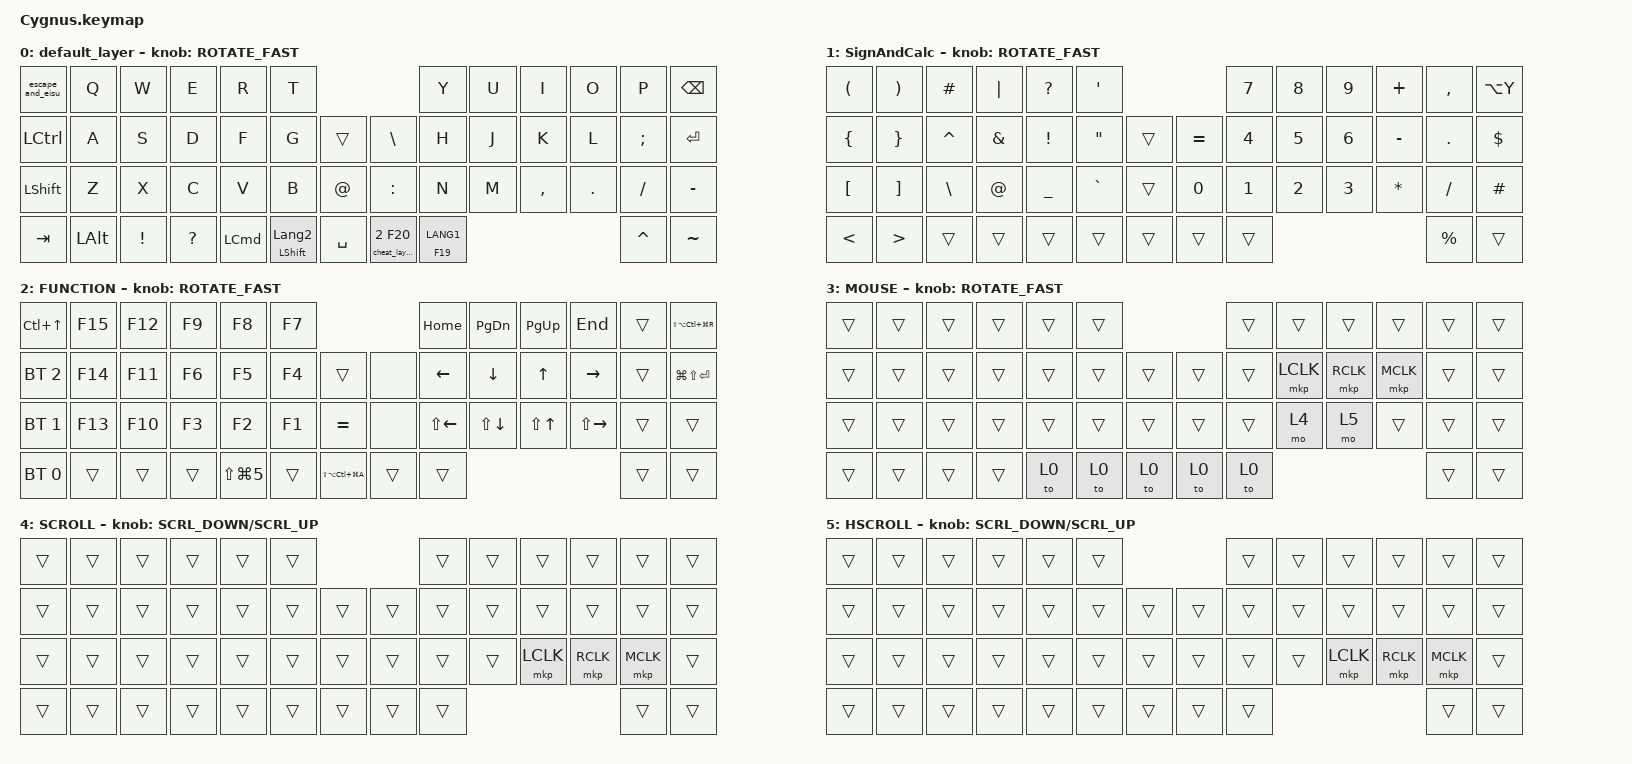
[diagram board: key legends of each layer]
#define ZMK_POINTING_DEFAULT_SCRL_VAL 120    // default: 10

#include <behaviors.dtsi>
#include <dt-bindings/zmk/bt.h>
#include <dt-bindings/zmk/keys.h>
#include <dt-bindings/zmk/pointing.h>

#define MOUSE 3
#define SCROLL 4
#define HSCROLL 5

&mt {
    flavor = "balanced";
    quick-tap-ms = <0>;
};

/ {
    combos {
        compatible = "zmk,combos";

        double_quotation {
            bindings = <&kp DOUBLE_QUOTES>;
            key-positions = <20 21>;
        };
    };

    macros {
        to_layer_0: to_layer_0 {
            compatible = "zmk,behavior-macro-one-param";
            #binding-cells = <1>;
            bindings = <&to 0 &macro_param_1to1 &kp MACRO_PLACEHOLDER>;
            label = "TO_LAYER_0";
        };

        escape_and_eisu: escape_and_eisu {
            compatible = "zmk,behavior-macro";
            #binding-cells = <0>;
            bindings = <&kp ESCAPE &kp LANG2>;
            label = "ESCAPE_AND_EISU";
        };

        cheat_layer_key: cheat_layer_key {
            compatible = "zmk,behavior-macro-two-param";
            #binding-cells = <2>;
            bindings =
                <&macro_param_1to1>,
                <&macro_press>,
                <&mo MACRO_PLACEHOLDER &macro_param_2to1>,
                <&macro_press>,
                <&kp MACRO_PLACEHOLDER>,
                <&macro_pause_for_release>,
                <&macro_param_2to1>,
                <&macro_release>,
                <&kp MACRO_PLACEHOLDER &macro_param_1to1>,
                <&macro_release>,
                <&mo MACRO_PLACEHOLDER>;

            label = "CHEAT_LAYER_KEY";
        };

        mo1_and_key: mo1_and_key {
            compatible = "zmk,behavior-macro-one-param";
            #binding-cells = <1>;
            bindings =
                <&macro_press>,
                <&mo 1 &macro_param_1to1>,
                <&macro_press>,
                <&kp MACRO_PLACEHOLDER>,
                <&macro_pause_for_release>,
                <&macro_param_1to1>,
                <&macro_release>,
                <&kp MACRO_PLACEHOLDER>,
                <&macro_release>,
                <&mo 1>;

            label = "MO1_AND_KEY";
        };

        scroll_up_fast: scroll_up_fast {
            compatible = "zmk,behavior-macro";
            #binding-cells = <0>;
            bindings = <&msc SCRL_UP &msc SCRL_UP &msc SCRL_UP>;
        };

        scroll_down_fast: scroll_down_fast {
            compatible = "zmk,behavior-macro";
            #binding-cells = <0>;
            bindings = <&msc SCRL_DOWN &msc SCRL_DOWN &msc SCRL_DOWN>;
        };
    };

    behaviors {
        lt_to_layer_0: lt_to_layer_0 {
            compatible = "zmk,behavior-hold-tap";
            label = "LAYER_TAP_TO_0";
            bindings = <&mo>, <&to_layer_0>;

            #binding-cells = <2>;
            tapping-term-ms = <200>;
        };

        ROTATE: ROTATE {
            compatible = "zmk,behavior-sensor-rotate-var";
            label = "ROTATE";
            #sensor-binding-cells = <2>;
            bindings = <&msc>, <&msc>;

            tap-ms = <20>;
        };

        ROTATE_FAST: ROTATE_FAST {
            compatible = "zmk,behavior-sensor-rotate";
            #sensor-binding-cells = <0>;
            bindings = <&scroll_up_fast>, <&scroll_down_fast>;

            tap-ms = <20>;
        };

        ROTATE_FAST_INV: ROTATE_FAST_INV {
            compatible = "zmk,behavior-sensor-rotate";
            #sensor-binding-cells = <0>;
            bindings = <&scroll_down_fast>, <&scroll_up_fast>;

            tap-ms = <20>;
        };

        HoldMacroAndTap: HoldMacroAndTap {
            compatible = "zmk,behavior-hold-tap";
            label = "HOLDMACROANDTAP";
            bindings = <&mo1_and_key>, <&kp>;

            #binding-cells = <2>;
            tapping-term-ms = <200>;
            quick-tap-ms = <175>;
        };

        HoldTap: HoldTap {
            compatible = "zmk,behavior-hold-tap";
            label = "HOLDTAP";
            bindings = <&kp>, <&kp>;

            #binding-cells = <2>;
            quick-tap-ms = <0>;
            tapping-term-ms = <350>;
            hold-trigger-key-positions = <0 1 2 4 3 5 6 7 8 9 10 11 20 21 22 23 24 25 34 35 36 37 38 39 48 49 50 12 13 14 16 17 18 19 20 21 26 27 28 29 30 31 32 33 34 35 40 41 42 43 44 45 46 47 48>;
        };
    };

    keymap {
        compatible = "zmk,keymap";

        default_layer {
            bindings = <
&escape_and_eisu  &kp Q         &kp W            &kp E         &kp R             &kp T                                                                  &kp Y                       &kp U  &kp I      &kp O    &kp P          &kp BACKSPACE
&kp LCTRL         &kp A         &kp S            &kp D         &kp F             &kp G                           &trans         &kp BACKSLASH           &kp H                       &kp J  &kp K      &kp L    &kp SEMICOLON  &kp ENTER
&kp LEFT_SHIFT    &kp Z         &kp X            &kp C         &kp V             &kp B                           &kp AT_SIGN    &kp COLON               &kp N                       &kp M  &kp COMMA  &kp DOT  &kp FSLH       &kp MINUS
&kp TAB           &kp LEFT_ALT  &kp EXCLAMATION  &kp QUESTION  &kp LEFT_COMMAND  &HoldTap LEFT_SHIFT LANGUAGE_2  &kp SPACE      &cheat_layer_key 2 F20  &HoldMacroAndTap F19 LANG1                             &kp CARET      &kp TILDE
            >;

            sensor-bindings = <&ROTATE_FAST>;
        };

        SignAndCalc {
            bindings = <
&kp LEFT_PARENTHESIS  &kp RIGHT_PARENTHESIS  &kp HASH       &kp PIPE       &kp QUESTION     &kp SINGLE_QUOTE                           &kp N7  &kp N8  &kp N9  &kp PLUS      &kp COMMA    &kp LA(Y)
&kp LEFT_BRACE        &kp RIGHT_BRACE        &kp CARET      &kp AMPERSAND  &kp EXCLAMATION  &kp DOUBLE_QUOTES  &trans    &kp EQUAL     &kp N4  &kp N5  &kp N6  &kp MINUS     &kp PERIOD   &kp DOLLAR
&kp LEFT_BRACKET      &kp RIGHT_BRACKET      &kp BACKSLASH  &kp AT_SIGN    &kp UNDERSCORE   &kp GRAVE          &trans    &kp NUMBER_0  &kp N1  &kp N2  &kp N3  &kp ASTERISK  &kp SLASH    &kp HASH
&kp LESS_THAN         &kp GREATER_THAN       &trans         &trans         &trans           &trans             &trans    &trans        &trans                                &kp PERCENT  &trans
            >;

            sensor-bindings = <&ROTATE_FAST>;
        };

        FUNCTION {
            bindings = <
&kp LC(UP_ARROW)  &kp F15  &kp F12  &kp F9  &kp F8                &kp F7                                   &kp HOME            &kp PG_DN           &kp PG_UP         &kp END              &trans  &kp LS(LA(LC(LG(R))))
&bt BT_SEL 2      &kp F14  &kp F11  &kp F6  &kp F5                &kp F4  &trans                   &none   &kp LEFT_ARROW      &kp DOWN_ARROW      &kp UP_ARROW      &kp RIGHT            &trans  &kp LG(LS(ENTER))
&bt BT_SEL 1      &kp F13  &kp F10  &kp F3  &kp F2                &kp F1  &kp EQUAL                &none   &kp LS(LEFT_ARROW)  &kp LS(DOWN_ARROW)  &kp LS(UP_ARROW)  &kp LS(RIGHT_ARROW)  &trans  &trans
&bt BT_SEL 0      &trans   &trans   &trans  &kp LS(LG(NUMBER_5))  &trans  &kp LS(LA(LC(LG(A))))    &trans  &trans                                                                         &trans  &trans
            >;

            sensor-bindings = <&ROTATE_FAST>;
        };

        MOUSE {
            bindings = <
&trans  &trans  &trans  &trans  &trans  &trans                    &trans  &trans     &trans     &trans     &trans  &trans
&trans  &trans  &trans  &trans  &trans  &trans  &trans    &trans  &trans  &mkp LCLK  &mkp RCLK  &mkp MCLK  &trans  &trans
&trans  &trans  &trans  &trans  &trans  &trans  &trans    &trans  &trans  &mo 4      &mo 5      &trans     &trans  &trans
&trans  &trans  &trans  &trans  &to 0   &to 0   &to 0     &to 0   &to 0                                    &trans  &trans
            >;

            sensor-bindings = <&ROTATE_FAST>;
        };

        SCROLL {
            bindings = <
&trans  &trans  &trans  &trans  &trans  &trans                    &trans  &trans  &trans     &trans     &trans     &trans
&trans  &trans  &trans  &trans  &trans  &trans  &trans    &trans  &trans  &trans  &trans     &trans     &trans     &trans
&trans  &trans  &trans  &trans  &trans  &trans  &trans    &trans  &trans  &trans  &mkp LCLK  &mkp RCLK  &mkp MCLK  &trans
&trans  &trans  &trans  &trans  &trans  &trans  &trans    &trans  &trans                                &trans     &trans
            >;

            sensor-bindings = <&ROTATE SCRL_DOWN SCRL_UP>;
        };

        HSCROLL {
            bindings = <
&trans  &trans  &trans  &trans  &trans  &trans                    &trans  &trans  &trans     &trans     &trans     &trans
&trans  &trans  &trans  &trans  &trans  &trans  &trans    &trans  &trans  &trans  &trans     &trans     &trans     &trans
&trans  &trans  &trans  &trans  &trans  &trans  &trans    &trans  &trans  &trans  &mkp LCLK  &mkp RCLK  &mkp MCLK  &trans
&trans  &trans  &trans  &trans  &trans  &trans  &trans    &trans  &trans                                &trans     &trans
            >;

            sensor-bindings = <&ROTATE SCRL_DOWN SCRL_UP>;
        };
    };
};
